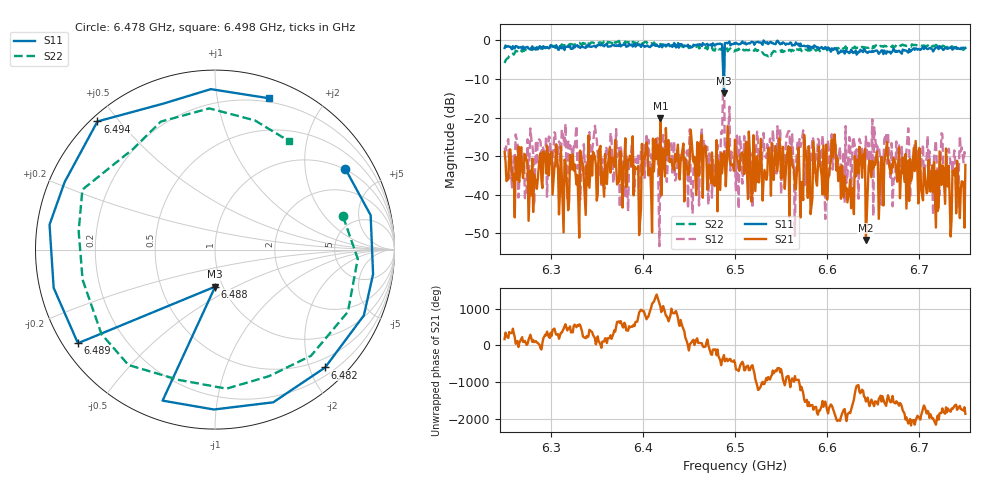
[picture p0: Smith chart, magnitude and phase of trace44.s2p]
# Hz S RI R 50
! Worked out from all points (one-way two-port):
!   401 points, 6.25 GHz to 6.75 GHz, reference 50 ohm
!   highest |S21| = -20.19 dB at 6.419 GHz (marker M1); lowest = -51.7 dB at 6.642 GHz (marker M2)
!   lowest |S11| = -13.7 dB at 6.488 GHz (marker M3), VSWR 1.52, Z = 46 - j19.8 ohm
!   |S11| at or under -10 dB: 6.487416 GHz to 6.488285 GHz (868.7 kHz wide, 0.0134 % of centre)
!   |S22| runs from -5.8 to -0.1 dB; largest |S21 - S12| = 0.77
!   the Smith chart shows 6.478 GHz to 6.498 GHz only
!   S11 on the Smith chart (normalised r, x): 6.478 GHz: 0.97, +3.23; 6.482 GHz: 0.33, -2.26; 6.488 GHz: 0.92, -0.40; 6.489 GHz: 0.04, -0.31; 6.494 GHz: 0.02, +0.44; 6.498 GHz: 0.17, +1.40
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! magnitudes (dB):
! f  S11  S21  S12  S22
! 6.25 GHz  -1.9  -28.9  -27.8  -5.8
! 6.334 GHz  -1.4  -31.5  -31.0  -1.0
! 6.348 GHz  -1.4  -30.1  -22.1  -0.8
! 6.356 GHz  -1.2  -34.0  -30.7  -0.9
! 6.364 GHz  -1.5  -27.8  -29.7  -0.5
! 6.386 GHz  -1.2  -29.8  -33.3  -0.6
! 6.395 GHz  -1.2  -32.5  -29.2  -0.5
! 6.418 GHz  -1.7  -34.8  -53.3  -1.3
! 6.419 GHz  -1.2  -20.2  -30.5  -0.9
! 6.478 GHz  -1.4  -37.7  -34.7  -2.7
! 6.482 GHz  -0.9  -31.1  -33.4  -2.3
! 6.488 GHz  -13.7  -28.8  -2.5  -2.1
! 6.489 GHz  -0.7  -30.1  -31.4  -2.4
! 6.494 GHz  -0.3  -30.8  -17.1  -2.2
! 6.498 GHz  -1.0  -32.2  -32.3  -2.7
! 6.5 GHz  -0.9  -25.7  -30.1  -2.6
! 6.584 GHz  -1.6  -40.8  -25.0  -2.3
! 6.606 GHz  -2.5  -30.2  -33.5  -2.5
! 6.62 GHz  -2.6  -38.9  -22.2  -1.5
! 6.642 GHz  -2.9  -51.7  -24.9  -1.9
! 6.668 GHz  -2.9  -33.2  -34.2  -1.3
! 6.75 GHz  -1.9  -32.3  -30.4  -2.3
